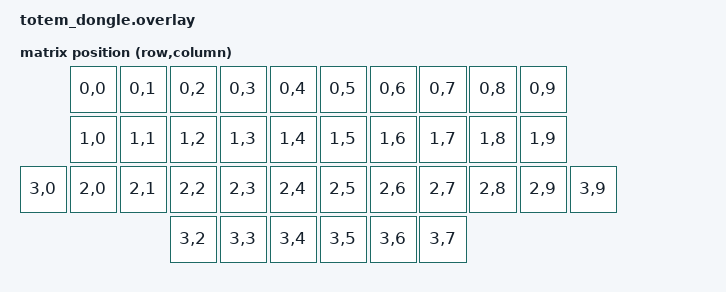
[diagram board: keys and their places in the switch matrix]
/*
 * TOTEM dongle part (Prospector): central with no keys of its own.
 * Uses the mock kscan driver; the matrix transform must match totem.dtsi
 * exactly (same node name and map) so positions from the halves map correctly.
 */

#include <dt-bindings/zmk/matrix_transform.h>

/* Touchscreen (CST816S, on the Waveshare 1.69" Touch LCD) for swipe
 * navigation between status screens. Requires the TP_* wires soldered:
 * TP_SDA->D4, TP_SCL->D5, TP_RST->D0, TP_IRQ->D1.
 * NOTE: the nodes are defined here (not in the module) because dtc resolves
 * &label references in overlay concatenation order, and this overlay comes
 * before the prospector_adapter overlays. */
&i2c1 {
    cst816s: cst816s@15 {
        compatible = "hynitron,cst816s";
        status = "okay";
        reg = <0x15>;
        irq-gpios = <&xiao_d 1 (GPIO_ACTIVE_LOW | GPIO_PULL_UP)>;
        rst-gpios = <&xiao_d 0 GPIO_ACTIVE_LOW>;
    };
};

/ {
    /* Feeds CST816S touch events into LVGL as a pointer input device.
     * invert-x/invert-y: the CST816S coordinate frame is rotated 180°
     * relative to the ST7789 display in this mounting. */
    lvgl_pointer_input: lvgl_pointer_input {
        compatible = "zephyr,lvgl-pointer-input";
        input = <&cst816s>;
        invert-x;
        invert-y;
    };

    chosen {
        zmk,kscan = &mock_kscan;
        zmk,matrix_transform = &default_transform;
    };

    mock_kscan: mock_kscan_0 {
        compatible = "zmk,kscan-mock";
        columns = <0>;
        rows = <0>;
        events = <0>;
    };

    default_transform: keymap_transform_0 {
        compatible = "zmk,matrix-transform";
        columns = <10>;
        rows = <4>;
        map = <
                RC(0,0) RC(0,1) RC(0,2) RC(0,3) RC(0,4)    RC(0,5) RC(0,6) RC(0,7) RC(0,8) RC(0,9)
                RC(1,0) RC(1,1) RC(1,2) RC(1,3) RC(1,4)    RC(1,5) RC(1,6) RC(1,7) RC(1,8) RC(1,9)
        RC(3,0) RC(2,0) RC(2,1) RC(2,2) RC(2,3) RC(2,4)    RC(2,5) RC(2,6) RC(2,7) RC(2,8) RC(2,9) RC(3,9)
                                RC(3,2) RC(3,3) RC(3,4)    RC(3,5) RC(3,6) RC(3,7)
        >;
    };
};
